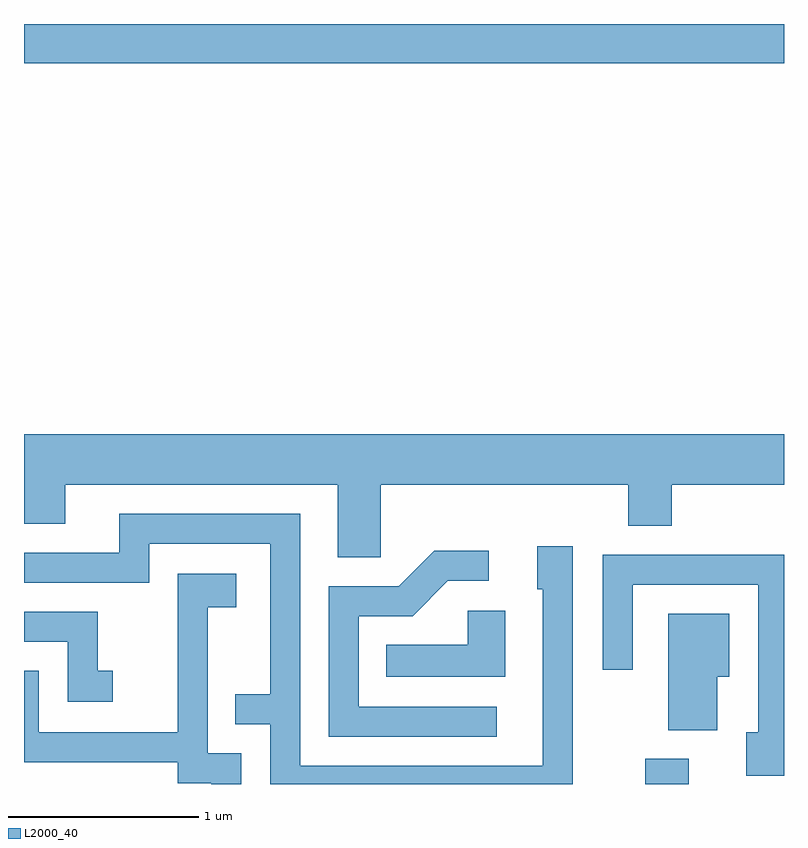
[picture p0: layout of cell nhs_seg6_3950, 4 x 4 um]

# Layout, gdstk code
import gdstk
lib = gdstk.Library(unit=1e-6, precision=1e-09)
def R(c, l, rs):  # rectangles x0, y0, x1, y1
    for r in rs: c.add(gdstk.rectangle(r[:2], r[2:], *l))
def P(c, l, *ps):  # polygons
    for p in ps: c.add(gdstk.Polygon(p, *l))
L2000_40 = (2000, 40)

nhs_seg6_3950 = lib.new_cell('nhs_seg6_3950')
R(nhs_seg6_3950, L2000_40, [(306.881,1626.162,307.109,1626.294), (303.611,1629.956,307.611,1630.162)])
P(nhs_seg6_3950, L2000_40, [(305.489,1627.736),(306.791,1627.736),(306.791,1627.521),(307.019,1627.521),(307.019,1627.736),(307.611,1627.736),(307.611,1628.004),(303.611,1628.004),(303.611,1627.531),(303.829,1627.531),(303.829,1627.736),(305.261,1627.736),(305.261,1627.356),(305.489,1627.356)],
  [(306.499,1627.414),(306.311,1627.414),(306.311,1627.186),(306.341,1627.186),(306.341,1626.259),(305.064,1626.259),(305.064,1627.584),(304.111,1627.584),(304.111,1627.379),(303.611,1627.379),(303.611,1627.221),(304.269,1627.221),(304.269,1627.426),(304.906,1627.426),(304.906,1626.634),(304.723,1626.634),(304.723,1626.476),(304.906,1626.476),(304.906,1626.162),(306.499,1626.162)],
  [(306.098,1626.569),(305.374,1626.569),(305.374,1627.046),(305.657,1627.046),(305.842,1627.231),(306.058,1627.231),(306.058,1627.389),(305.769,1627.389),(305.584,1627.204),(305.216,1627.204),(305.216,1626.411),(306.098,1626.411)],
  [(307.611,1627.369),(306.656,1627.369),(306.656,1626.763),(306.814,1626.763),(306.814,1627.211),(307.476,1627.211),(307.476,1626.434),(307.411,1626.434),(307.411,1626.206),(307.611,1626.206)],
  [(304.754,1626.324),(304.579,1626.324),(304.579,1627.091),(304.729,1627.091),(304.729,1627.269),(304.421,1627.269),(304.421,1626.434),(303.689,1626.434),(303.689,1626.759),(303.611,1626.759),(303.611,1626.276),(304.421,1626.276),(304.421,1626.166),(304.596,1626.166),(304.596,1626.162),(304.754,1626.162)],
  [(306.144,1627.074),(305.946,1627.074),(305.946,1626.894),(305.518,1626.894),(305.518,1626.726),(306.144,1626.726)],
  [(304.078,1626.759),(303.999,1626.759),(303.999,1627.069),(303.611,1627.069),(303.611,1626.911),(303.841,1626.911),(303.841,1626.596),(304.078,1626.596)],
  [(307.259,1626.726),(307.324,1626.726),(307.324,1627.059),(307.001,1627.059),(307.001,1626.446),(307.259,1626.446)])

lib.write_gds('nhs_seg6_3950.gds')
